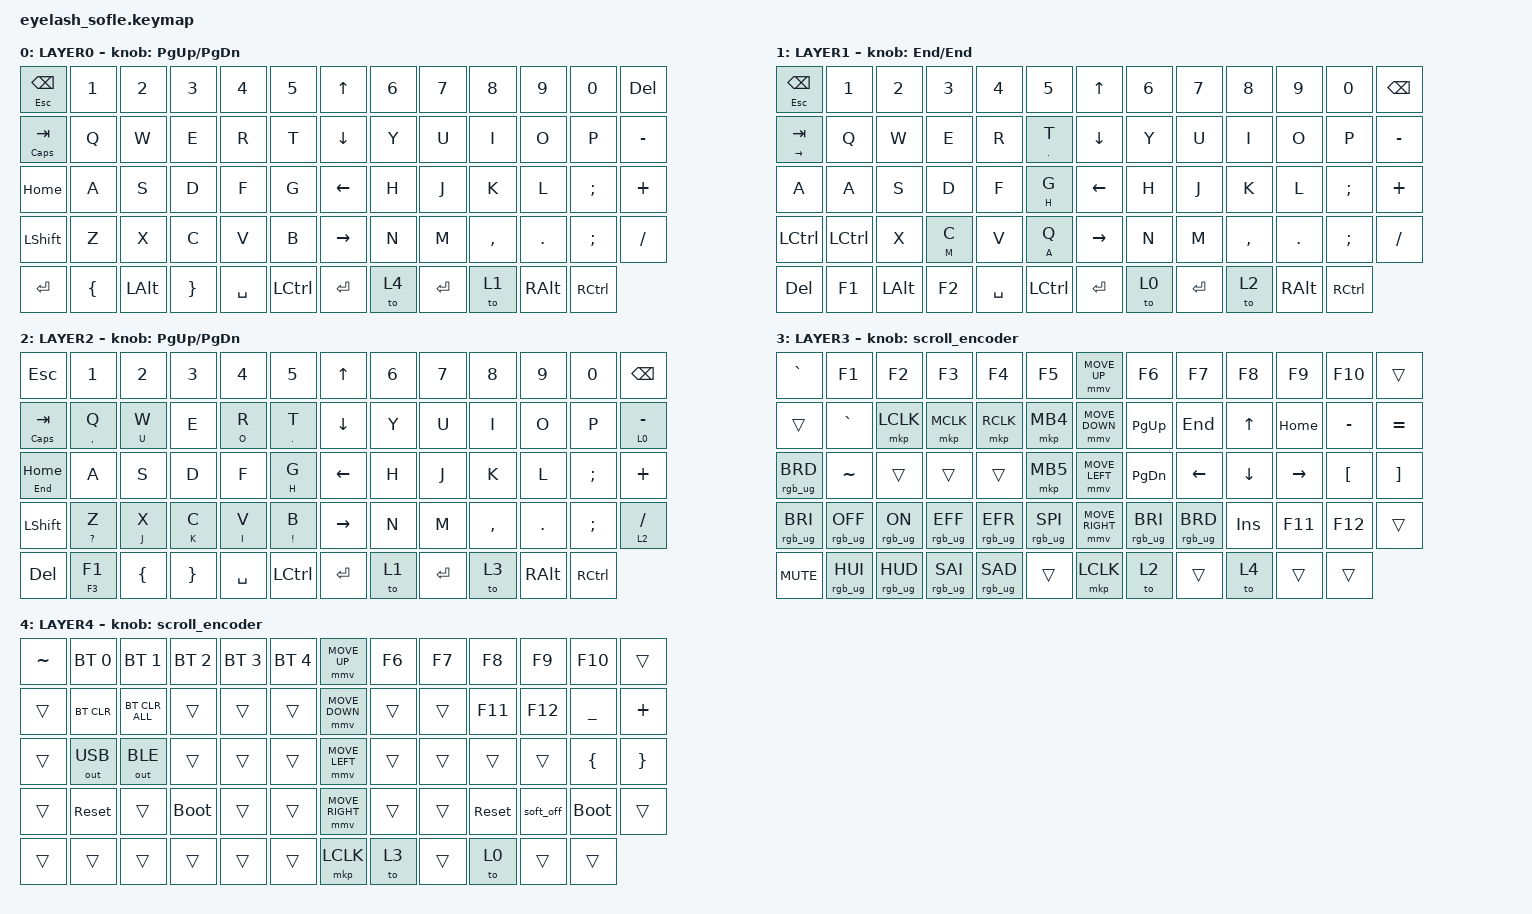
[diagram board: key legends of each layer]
#define ZMK_POINTING_DEFAULT_MOVE_VAL 1200  // 600
#define ZMK_POINTING_DEFAULT_SCRL_VAL 25   // 10

#include <input/processors.dtsi>
#include <zephyr/dt-bindings/input/input-event-codes.h>
#include <behaviors.dtsi>
#include <dt-bindings/zmk/bt.h>
#include <dt-bindings/zmk/keys.h>
#include <dt-bindings/zmk/outputs.h>
#include <dt-bindings/zmk/pointing.h>
#include <dt-bindings/zmk/rgb.h>

&mmv_input_listener { input-processors = <&zip_xy_scaler 2 1>; };

&msc_input_listener { input-processors = <&zip_scroll_scaler 2 1>; };

&msc {
    acceleration-exponent = <1>;      // 0
    time-to-max-speed-ms = <100>;       // 300
    delay-ms = <0>;                   // 0
};

&mmv {
    time-to-max-speed-ms = <500>;
    acceleration-exponent = <1>;
    trigger-period-ms = <16>;
};

&soft_off { hold-time-ms = <2000>; };

/ {
    scroll_encoder: scroll_encoder {
        compatible = "zmk,behavior-sensor-rotate";
        #sensor-binding-cells = <0>;
        bindings = <&msc SCRL_DOWN>, <&msc SCRL_UP>;

        tap-ms = <100>;
    };

    behaviors {
    };

    combos {
        compatible = "zmk,combos";

        softoff {
            bindings = <&soft_off>;
            key-positions = <14 28 40>;
        };
    };

    keymap {
        compatible = "zmk,keymap";

        layer0 {
            bindings = <
&mt ESC BACKSPACE        &kp N1      &kp N2        &kp N3       &kp N4     &kp N5        &kp UP_ARROW      &kp N6    &kp N7     &kp N8     &kp N9         &kp N0     &kp DEL
&mt CAPS TAB   &kp Q       &kp W       &kp E        &kp R    &kp T     &kp DOWN_ARROW    &kp Y     &kp U      &kp I      &kp O          &kp P      &kp MINUS
&kp HOME       &kp A       &kp S         &kp D        &kp F      &kp G       &kp LEFT_ARROW    &kp H     &kp J      &kp K      &kp L          &kp SEMI   &kp PLUS
&kp LSHFT      &kp Z       &kp X       &kp C      &kp V    &kp B    &kp RIGHT_ARROW   &kp N     &kp M      &kp COMMA  &kp DOT        &kp SEMI   &kp FSLH
&kp ENTER        &kp LBRC      &kp LEFT_ALT  &kp RBRC    &kp SPACE  &kp LCTRL     &kp ENTER         &to 4  &kp ENTER  &to 1   &kp RIGHT_ALT  &kp RCTL
            >;

            sensor-bindings = <&inc_dec_kp PG_UP PG_DN>;
            display-name = "LAYER0";
        };
        layer1 {
            bindings = <
&mt ESC BACKSPACE        &kp N1            &kp N2        &kp N3       &kp N4     &kp N5        &kp UP_ARROW      &kp N6    &kp N7     &kp N8     &kp N9         &kp N0     &kp BACKSPACE
&mt RIGHT_ARROW TAB   &kp Q       &kp W         &kp E        &kp R    &mt DOT T     &kp DOWN_ARROW    &kp Y     &kp U      &kp I      &kp O          &kp P      &kp MINUS
&kp A   &kp A             &kp S         &kp D        &kp F      &mt H G       &kp LEFT_ARROW    &kp H     &kp J      &kp K      &kp L          &kp SEMI   &kp PLUS
&kp LCTRL      &kp LCTRL         &kp X       &mt M C      &kp V    &mt A Q    &kp RIGHT_ARROW   &kp N     &kp M      &kp COMMA  &kp DOT        &kp SEMI   &kp FSLH
&kp DEL        &kp F1            &kp LEFT_ALT      &kp F2     &kp SPACE  &kp LCTRL     &kp ENTER         &to 0  &kp ENTER  &to 2   &kp RIGHT_ALT  &kp RCTL
            >;

            sensor-bindings = <&inc_dec_kp END END>;
            display-name = "LAYER1";
        };
        layer2 {
            bindings = <
&kp ESC     &kp N1     &kp N2        &kp N3        &kp N4  &kp N5       &kp UP_ARROW     &kp N6     &kp N7     &kp N8     &kp N9           &kp N0      &kp BACKSPACE
&mt CAPS TAB     &mt COMMA Q      &mt  U W         &kp E         &mt  O R   &mt  DOT T        &kp DOWN_ARROW   &kp Y      &kp U      &kp I      &kp O            &kp P       &lt 0  MINUS
&mt  END HOME    &kp A      &kp S         &kp D         &kp F   &mt  H G        &kp LEFT_ARROW   &kp H      &kp J      &kp K      &kp L            &kp SEMI    &kp PLUS
&kp LSHFT   &mt  QUESTION Z      &mt  J X         &mt  K C         &mt  I V   &mt  EXCL B        &kp RIGHT_ARROW  &kp N      &kp M      &kp COMMA  &kp DOT          &kp SEMI    &lt 2 FSLH
&kp DEL    &mt  F3 F1     &kp LBRC  &kp RBRC        &kp SPACE  &kp LCTRL  &kp ENTER        &to 1  &kp ENTER  &to 3  &kp RIGHT_ALT      &kp RCTL 
            >;

            sensor-bindings = <&inc_dec_kp PG_UP PG_DN>;


            display-name = "LAYER2";
        };
        layer3 {
            bindings = <
&kp GRAVE   &kp F1           &kp F2          &kp F3           &kp F4           &kp F5             &mmv MOVE_UP     &kp F6           &kp F7           &kp F8      &kp F9     &kp F10           &trans
&trans      &kp GRAVE        &mkp LCLK       &mkp MCLK        &mkp RCLK        &mkp MB4           &mmv MOVE_DOWN   &kp PG_UP        &kp END          &kp UP      &kp HOME   &kp MINUS         &kp EQUAL
&rgb_ug RGB_BRD      &kp TILDE        &trans          &trans           &trans           &mkp MB5           &mmv MOVE_LEFT   &kp PG_DN        &kp LEFT         &kp DOWN    &kp RIGHT  &kp LEFT_BRACKET  &kp RIGHT_BRACKET
&rgb_ug RGB_BRI      &rgb_ug RGB_OFF  &rgb_ug RGB_ON  &rgb_ug RGB_EFF  &rgb_ug RGB_EFR  &rgb_ug RGB_SPI    &mmv MOVE_RIGHT  &rgb_ug RGB_BRI  &rgb_ug RGB_BRD  &kp INSERT  &kp F11    &kp F12           &trans
&kp C_MUTE  &rgb_ug RGB_HUI           &rgb_ug RGB_HUD          &rgb_ug RGB_SAI           &rgb_ug RGB_SAD           &trans             &mkp LCLK        &to 2           &trans           &to 4      &trans     &trans
            >;

            display-name = "LAYER3";
            sensor-bindings = <&scroll_encoder>;
        };

        layer4 {
            bindings = <
&kp TILDE  &bt BT_SEL 0  &bt BT_SEL 1    &bt BT_SEL 2  &bt BT_SEL 3  &bt BT_SEL 4    &mmv MOVE_UP     &kp F6  &kp F7  &kp F8      &kp F9     &kp F10      &trans
&trans     &bt BT_CLR    &bt BT_CLR_ALL  &trans        &trans        &trans          &mmv MOVE_DOWN   &trans  &trans  &kp F11     &kp F12    &kp UNDER    &kp PLUS
&trans     &out OUT_USB  &out OUT_BLE    &trans        &trans        &trans          &mmv MOVE_LEFT   &trans  &trans  &trans      &trans     &kp LBRC     &kp RBRC
&trans     &sys_reset    &trans          &bootloader   &trans        &trans          &mmv MOVE_RIGHT  &trans  &trans  &sys_reset  &soft_off  &bootloader  &trans
&trans     &trans        &trans          &trans        &trans        &trans          &mkp LCLK        &to 3  &trans  &to 0     &trans     &trans
            >;

            display-name = "LAYER4";
            sensor-bindings = <&scroll_encoder>;
        };
    };
};
